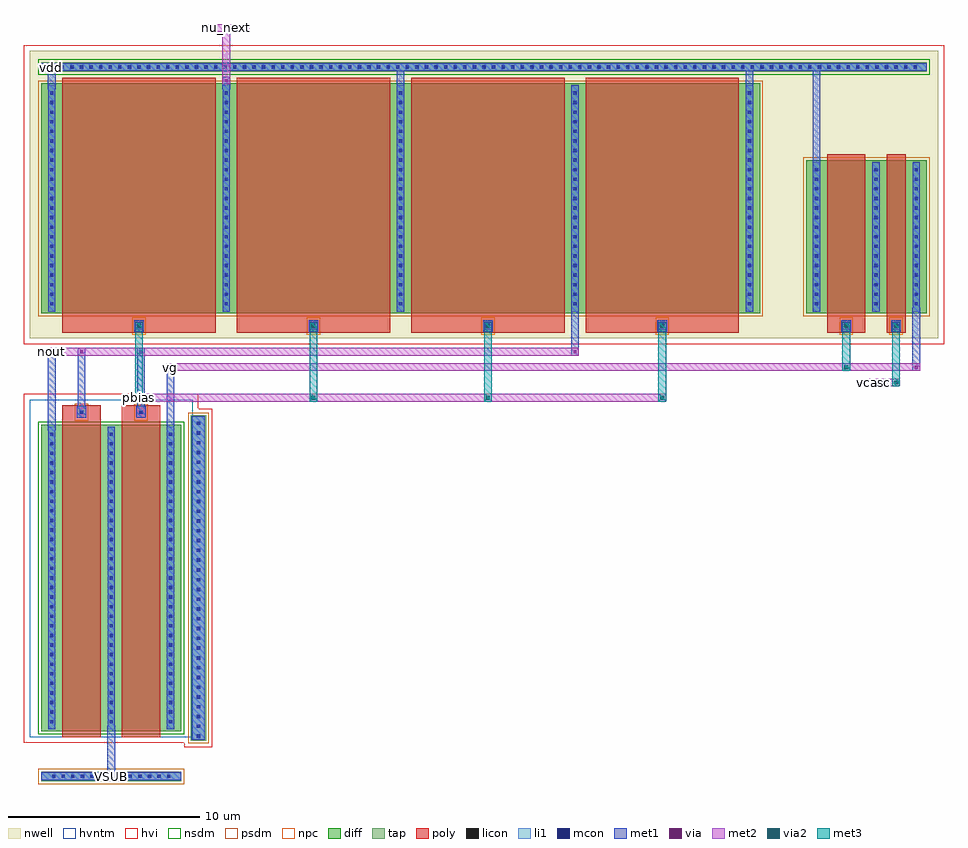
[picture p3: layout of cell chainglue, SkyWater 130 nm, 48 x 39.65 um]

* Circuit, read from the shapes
.subckt chainglue VSUB nout nu_next pbias vcasc vdd vg
XM1 VSUB nout nout VSUB sky130_fd_pr__nfet_g5v0d10v5 w=16 l=2
XM2 vg nout VSUB VSUB sky130_fd_pr__nfet_g5v0d10v5 w=16 l=2
XM3 nu_next pbias vdd vdd sky130_fd_pr__pfet_g5v0d10v5 w=12 l=8 m=2
XM4 nout pbias vdd vdd sky130_fd_pr__pfet_g5v0d10v5 w=12 l=8 m=2
XM5 n1 vg vdd vdd sky130_fd_pr__pfet_g5v0d10v5 w=8 l=2
XM6 vg vcasc n1 vdd sky130_fd_pr__pfet_g5v0d10v5 w=8 l=1
.ends

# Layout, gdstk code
import gdstk
lib = gdstk.Library(unit=1e-6, precision=1e-09)
def R(c, l, rs):  # rectangles x0, y0, x1, y1
    for r in rs: c.add(gdstk.rectangle(r[:2], r[2:], *l))
def A(c, l, x, y, w, h, nx, ny, dx, dy):  # array of equal rectangles
    R(c, l, [(x+i*dx, y+j*dy, x+i*dx+w, y+j*dy+h) for i in range(nx) for j in range(ny)])
nwell = (64, 20)
diff = (65, 20)
tap = (65, 44)
poly = (66, 20)
licon = (66, 44)
li1 = (67, 20)
mcon = (67, 44)
met1 = (68, 20)
via = (68, 44)
met2 = (69, 20)
via2 = (69, 44)
met3 = (70, 20)
hvi = (75, 20)
nsdm = (93, 44)
psdm = (94, 20)
npc = (95, 20)
hvntm = (125, 20)

chainglue = lib.new_cell('chainglue')
R(chainglue, nwell, [(0.4,20.5,47.8,35.5)])
R(chainglue, diff, [(1,0,8.3,16), (1,21.8,38.5,33.8), (40.9,21.8,47.2,29.8)])
R(chainglue, tap, [(1,-2.6,8.3,-2.1), (8.8,-0.5,9.6,16.5), (1,34.4,47.2,34.9)])
A(chainglue, poly, 2.1, 20.8, 8, 0.7, 4, 1, 9.1, 0)
A(chainglue, poly, 2.1, 21.5, 8, 12.6, 4, 1, 9.1, 0)
R(chainglue, poly, [(2.1,-0.3,4.1,17), (5.2,-0.3,7.2,17), (42,20.8,44,21.5), (45.1,20.8,46.1,21.5), (42,21.5,44,30.1), (45.1,21.5,46.1,30.1)])
A(chainglue, licon, 1.565, -2.435, 0.17, 0.17, 13, 1, 0.5, 0)
A(chainglue, licon, 9.115, -0.335, 0.17, 0.17, 1, 33, 0, 0.51)
A(chainglue, licon, 1.465, 0.415, 0.17, 0.17, 3, 31, 3.1, 0.5)
A(chainglue, licon, 6.015, 21.065, 0.17, 0.17, 4, 1, 9.1, 0)
A(chainglue, licon, 1.465, 22.215, 0.17, 0.17, 5, 23, 9.1, 0.5)
A(chainglue, licon, 41.365, 22.215, 0.17, 0.17, 1, 15, 0, 0.5)
A(chainglue, licon, 44.465, 22.215, 0.17, 0.17, 1, 15, 0, 0.5)
A(chainglue, licon, 46.565, 22.215, 0.17, 0.17, 1, 15, 0, 0.5)
A(chainglue, licon, 1.515, 34.565, 0.17, 0.17, 91, 1, 0.5, 0)
R(chainglue, licon, [(3.015,16.565,3.185,16.735), (6.115,16.565,6.285,16.735), (42.915,21.065,43.085,21.235), (45.515,21.065,45.685,21.235)])
A(chainglue, li1, 1.36, 0.1, 0.38, 15.8, 3, 1, 3.1, 0)
A(chainglue, li1, 5.85, 20.85, 0.5, 0.6, 4, 1, 9.1, 0)
A(chainglue, li1, 1.36, 21.9, 0.38, 11.8, 5, 1, 9.1, 0)
R(chainglue, li1, [(1,-2.55,8.3,-2.15), (8.86,-0.44,9.54,16.44), (2.85,16.35,3.35,16.95), (5.95,16.35,6.45,16.95), (42.75,20.85,43.25,21.45), (45.35,20.85,45.85,21.45), (41.26,21.9,41.64,29.7), (44.36,21.9,44.74,29.7), (46.46,21.9,46.84,29.7), (1,34.45,47.2,34.85)])
A(chainglue, mcon, 1.565, -2.435, 0.17, 0.17, 13, 1, 0.5, 0)
A(chainglue, mcon, 9.115, -0.335, 0.17, 0.17, 1, 33, 0, 0.51)
A(chainglue, mcon, 1.465, 0.415, 0.17, 0.17, 3, 31, 3.1, 0.5)
A(chainglue, mcon, 6.015, 21.065, 0.17, 0.17, 4, 1, 9.1, 0)
A(chainglue, mcon, 1.465, 22.215, 0.17, 0.17, 5, 23, 9.1, 0.5)
A(chainglue, mcon, 41.365, 22.215, 0.17, 0.17, 1, 15, 0, 0.5)
A(chainglue, mcon, 44.465, 22.215, 0.17, 0.17, 1, 15, 0, 0.5)
A(chainglue, mcon, 46.565, 22.215, 0.17, 0.17, 1, 15, 0, 0.5)
A(chainglue, mcon, 1.515, 34.565, 0.17, 0.17, 91, 1, 0.5, 0)
R(chainglue, mcon, [(3.015,16.565,3.185,16.735), (6.115,16.565,6.285,16.735), (42.915,21.065,43.085,21.235), (45.515,21.065,45.685,21.235)])
A(chainglue, met1, 1.36, 0.1, 0.38, 15.8, 3, 1, 3.1, 0)
A(chainglue, met1, 5.85, 20.85, 0.5, 0.6, 4, 1, 9.1, 0)
A(chainglue, met1, 1.36, 21.9, 0.38, 11.8, 5, 1, 9.1, 0)
A(chainglue, met1, 1.35, 33.5, 0.4, 1.35, 3, 1, 18.2, 0)
R(chainglue, met1, [(1,-2.55,8.3,-2.15), (4.45,-2.55,4.85,0.3), (8.86,-0.44,9.54,16.44), (1.35,15.7,1.75,20), (7.55,15.7,7.95,19.2), (2.85,16.35,3.35,16.95), (5.95,16.35,6.45,16.95), (2.9,16.45,3.3,20), (6,16.45,6.4,20), (46.45,18.8,46.85,22.1), (28.65,19.6,29.05,22.1), (42.75,20.85,43.25,21.45), (45.35,20.85,45.85,21.45), (41.26,21.9,41.64,29.7), (44.36,21.9,44.74,29.7), (46.46,21.9,46.84,29.7), (41.25,29.5,41.65,34.85), (10.45,33.5,10.85,34.15), (1,34.45,47.2,34.85)])
A(chainglue, via, 6.025, 21.075, 0.15, 0.15, 4, 1, 9.1, 0)
R(chainglue, via, [(7.675,18.925,7.825,19.075), (46.575,18.925,46.725,19.075), (1.475,19.725,1.625,19.875), (3.025,19.725,3.175,19.875), (6.125,19.725,6.275,19.875), (28.775,19.725,28.925,19.875), (42.925,21.075,43.075,21.225), (45.525,21.075,45.675,21.225), (10.575,33.875,10.725,34.025)])
A(chainglue, met2, 5.89, 20.94, 0.42, 0.42, 4, 1, 9.1, 0)
R(chainglue, met2, [(5.9,17.2,33.6,17.6), (44.2,18,45.8,18.4), (7.55,18.8,46.85,19.2), (1.35,19.6,29.05,20), (42.79,20.94,43.21,21.36), (45.39,20.94,45.81,21.36), (10.45,33.75,10.85,36.9), (9.45,36.5,11.85,36.9)])
A(chainglue, via2, 6, 17.3, 0.2, 0.2, 4, 2, 9.1, 3.75)
R(chainglue, via2, [(45.5,18.1,45.7,18.3), (42.9,18.9,43.1,19.1), (42.9,21.05,43.1,21.25), (45.5,21.05,45.7,21.25)])
A(chainglue, met3, 5.9, 17.2, 0.4, 4.15, 4, 1, 9.1, 0)
R(chainglue, met3, [(45.4,18,45.8,21.35), (42.8,18.8,43.2,21.35)])
R(chainglue, hvi, [(8.47,-0.83,9.93,16.83), (0.1,-0.6,9.2,17.6), (0.1,20.2,48.1,35.8)])
R(chainglue, nsdm, [(0.85,-0.15,8.45,16.15), (0.85,34.25,47.35,35.05)])
R(chainglue, psdm, [(0.85,-2.75,8.45,-1.95), (8.67,-0.63,9.73,16.63), (0.85,21.65,38.65,33.95), (40.75,21.65,47.35,29.95)])
A(chainglue, npc, 5.75, 20.7, 0.7, 0.9, 4, 1, 9.1, 0)
R(chainglue, npc, [(2.75,16.2,3.45,17.1), (5.85,16.2,6.55,17.1), (42.65,20.7,43.35,21.6), (45.25,20.7,45.95,21.6)])
R(chainglue, hvntm, [(0.4,-0.3,8.9,17.3)])
chainglue.add(gdstk.Label('VSUB', (4.65,-2.35), layer=68, texttype=5))
chainglue.add(gdstk.Label('vdd', (1.55,34.65), layer=68, texttype=5))
chainglue.add(gdstk.Label('nout', (1.55,19.8), layer=69, texttype=5))
chainglue.add(gdstk.Label('nu_next', (10.65,36.7), layer=69, texttype=5))
chainglue.add(gdstk.Label('vg', (7.75,19), layer=69, texttype=5))
chainglue.add(gdstk.Label('vcasc', (44.4,18.2), layer=69, texttype=5))
chainglue.add(gdstk.Label('pbias', (6.1,17.4), layer=69, texttype=5))

lib.write_gds('chainglue.gds')
